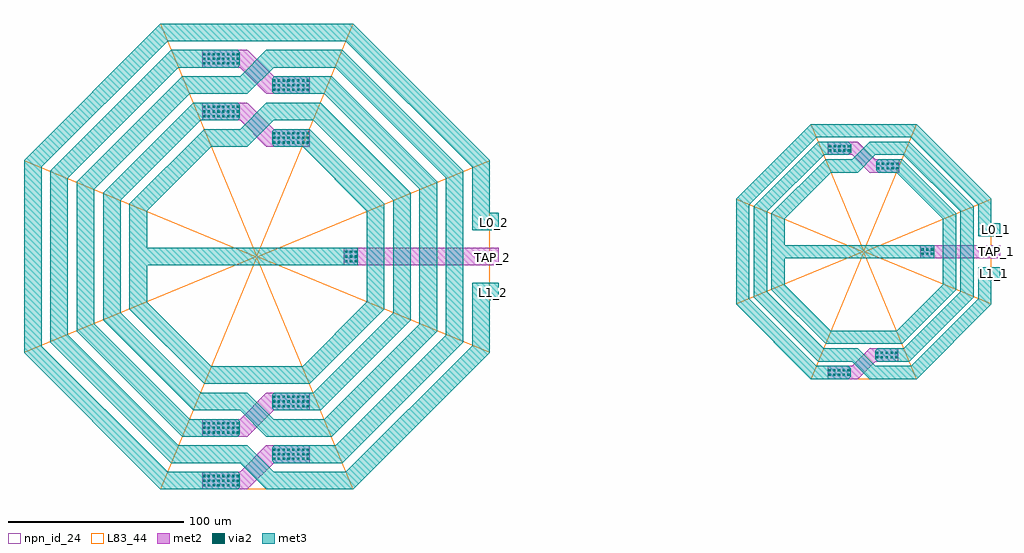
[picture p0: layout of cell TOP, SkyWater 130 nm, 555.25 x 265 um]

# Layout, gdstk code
import gdstk
lib = gdstk.Library(unit=1e-6, precision=1e-09)
def R(c, l, rs):  # rectangles x0, y0, x1, y1
    for r in rs: c.add(gdstk.rectangle(r[:2], r[2:], *l))
def A(c, l, x, y, w, h, nx, ny, dx, dy):  # array of equal rectangles
    R(c, l, [(x+i*dx, y+j*dy, x+i*dx+w, y+j*dy+h) for i in range(nx) for j in range(ny)])
def P(c, l, *ps):  # polygons
    for p in ps: c.add(gdstk.Polygon(p, *l))
met2 = (69, 20)
via2 = (69, 44)
met3 = (70, 20)
npn_id_24 = (82, 24)
L83_44 = (83, 44)

sky130_fd_pr__rf_test_co = lib.new_cell('sky130_fd_pr__rf_test_coil1')
R(sky130_fd_pr__rf_test_co, met2, [(-20.52,-71.035,-7.66,-66.485), (6.65,-61.035,19.51,-56.485), (32.36,-2.275,39.68,2.275), (7.155,46.47,20.015,51.02), (-20.23,56.485,-7.37,61.035)])
P(sky130_fd_pr__rf_test_co, met2, [(-20.615,-72.52),(-20.615,-65.02),(-6.555,-65.02),(3.455,-55.01),(19.625,-55.01),(19.625,-62.51),(6.565,-62.51),(-3.445,-72.52)],
  [(-20.395,55.01),(-20.395,62.51),(-8.695,62.51),(-7.325,61.14),(-7.325,56.38),(-8.695,55.01)],
  [(3.455,45),(-6.555,55.01),(-20.395,55.01),(-20.395,62.51),(-3.445,62.51),(6.565,52.5),(20.12,52.5),(20.12,45)])
A(sky130_fd_pr__rf_test_co, via2, -17.46, -70.595, 1.2, 1.2, 3, 2, 2.77, 2.47)
A(sky130_fd_pr__rf_test_co, via2, 9.71, -60.595, 1.2, 1.2, 3, 2, 2.77, 2.47)
A(sky130_fd_pr__rf_test_co, via2, 10.215, 46.91, 1.2, 1.2, 3, 2, 2.77, 2.47)
A(sky130_fd_pr__rf_test_co, via2, -17.17, 56.925, 1.2, 1.2, 3, 2, 2.77, 2.47)
R(sky130_fd_pr__rf_test_co, via2, [(-20.08,-70.595,-18.88,-69.395), (-9.3,-70.595,-8.1,-69.395), (-20.08,-68.125,-18.88,-66.925), (-9.3,-68.125,-8.1,-66.925), (7.09,-60.595,8.29,-59.395), (17.87,-60.595,19.07,-59.395), (7.09,-58.125,8.29,-56.925), (17.87,-58.125,19.07,-56.925), (32.8,-1.835,34,-0.635), (35.42,-1.835,36.62,-0.635), (38.19,-1.835,39.39,-0.635), (32.8,0.635,34,1.835), (35.42,0.635,36.62,1.835), (38.19,0.635,39.39,1.835), (7.595,46.91,8.795,48.11), (18.375,46.91,19.575,48.11), (7.595,49.38,8.795,50.58), (18.375,49.38,19.575,50.58), (-19.79,56.925,-18.59,58.125), (-9.01,56.925,-7.81,58.125), (-19.79,59.395,-18.59,60.595), (-9.01,59.395,-7.81,60.595)])
R(sky130_fd_pr__rf_test_co, met3, [(-20.615,-71.15,-7.545,-66.39), (6.555,-61.14,19.625,-56.38), (32.255,-2.38,39.785,2.38), (7.05,46.37,20.12,51.13), (-20.335,56.38,-7.265,61.14)])
P(sky130_fd_pr__rf_test_co, met3, [(67.215,24.74),(24.74,67.215),(30.045,72.52),(72.52,30.045)],
  [(3.445,-72.52),(-6.565,-62.51),(-25.9,-62.51),(-25.9,-55.02),(-3.445,-55.02),(6.555,-65.02),(30.045,-65.02),(30.045,-72.52)],
  [(30.045,-72.52),(24.74,-67.215),(67.215,-24.74),(72.52,-30.045)],
  [(-30.045,-72.52),(-72.52,-30.045),(-67.215,-24.74),(-24.74,-67.215)],
  [(-67.215,24.74),(-72.52,30.045),(-30.045,72.52),(-24.74,67.215)],
  [(-21.755,45),(-21.755,52.5),(-6.565,52.5),(3.445,62.51),(25.9,62.51),(25.9,55.01),(6.555,55.01),(-3.455,45)],
  [(57.205,20.595),(20.595,57.205),(25.9,62.51),(62.51,25.9)],
  [(25.9,-62.51),(20.595,-57.205),(57.205,-20.595),(62.51,-25.9)],
  [(-25.9,-62.51),(-62.51,-25.9),(-57.205,-20.595),(-20.595,-57.205)],
  [(-57.205,20.595),(-62.51,25.9),(-25.9,62.51),(-20.595,57.205)],
  [(47.195,16.45),(16.45,47.195),(21.755,52.5),(52.5,21.755)],
  [(21.755,-52.5),(16.45,-47.195),(47.195,-16.45),(52.5,-21.755)],
  [(-21.755,-52.5),(-52.5,-21.755),(-47.195,-16.45),(-16.45,-47.195)],
  [(-47.195,16.45),(-52.5,21.755),(-21.755,52.5),(-16.45,47.195)],
  [(-25.9,55.01),(-25.9,62.51),(-8.695,62.51),(-7.325,61.14),(-7.325,56.38),(-8.695,55.01)],
  [(-30.045,-72.52),(-30.045,-65.02),(-8.915,-65.02),(-7.545,-66.39),(-7.545,-71.15),(-8.915,-72.52)],
  [(7.925,-62.51),(6.555,-61.14),(6.555,-56.38),(7.925,-55.01),(25.9,-55.01),(25.9,-62.51)],
  [(8.42,45),(7.05,46.37),(7.05,51.13),(8.42,52.5),(21.755,52.5),(21.755,45)])
P(sky130_fd_pr__rf_test_co, npn_id_24, [(-30.045,-72.52),(-72.52,-30.045),(-72.52,30.045),(-30.045,72.52),(30.045,72.52),(72.52,30.045),(72.52,-30.045),(30.045,-72.52)])
P(sky130_fd_pr__rf_test_co, L83_44, [(72.52,-30.044),(0,0),(72.52,30.044)],
  [(-72.52,-30.044),(-72.52,30.044),(0,0)],
  [(-30.044,-72.52),(0,0),(30.044,-72.52)],
  [(0,0),(-30.044,72.52),(30.044,72.52)])
sky130_fd_pr__rf_test_co.add(gdstk.FlexPath([(77.5,0),(32.04,0)], 7.5, ends="flush", simple_path=True, layer=69, datatype=20))  # met2
sky130_fd_pr__rf_test_co.add(gdstk.FlexPath([(30.045,68.77),(0,68.77)], 7.5, ends="flush", simple_path=True, layer=70, datatype=20))  # met3
sky130_fd_pr__rf_test_co.add(gdstk.FlexPath([(68.77,8.75),(68.77,30.045)], 7.5, ends="flush", simple_path=True, layer=70, datatype=20))  # met3
sky130_fd_pr__rf_test_co.add(gdstk.FlexPath([(-68.77,30.045),(-68.77,-30.045)], 7.5, ends="flush", simple_path=True, layer=70, datatype=20))  # met3
sky130_fd_pr__rf_test_co.add(gdstk.FlexPath([(0,68.77),(-30.045,68.77)], 7.5, ends="flush", simple_path=True, layer=70, datatype=20))  # met3
sky130_fd_pr__rf_test_co.add(gdstk.FlexPath([(58.76,-25.9),(58.76,25.9)], 7.5, ends="flush", simple_path=True, layer=70, datatype=20))  # met3
sky130_fd_pr__rf_test_co.add(gdstk.FlexPath([(65.02,-12.5),(77.5,-12.5)], 7.5, ends="flush", simple_path=True, layer=70, datatype=20))  # met3
sky130_fd_pr__rf_test_co.add(gdstk.FlexPath([(-58.76,25.9),(-58.76,-25.9)], 7.5, ends="flush", simple_path=True, layer=70, datatype=20))  # met3
sky130_fd_pr__rf_test_co.add(gdstk.FlexPath([(48.75,-21.755),(48.75,21.755)], 7.5, ends="flush", simple_path=True, layer=70, datatype=20))  # met3
sky130_fd_pr__rf_test_co.add(gdstk.FlexPath([(-21.755,-48.75),(21.755,-48.75)], 7.5, ends="flush", simple_path=True, layer=70, datatype=20))  # met3
sky130_fd_pr__rf_test_co.add(gdstk.FlexPath([(65.02,12.5),(77.5,12.5)], 7.5, ends="flush", simple_path=True, layer=70, datatype=20))  # met3
sky130_fd_pr__rf_test_co.add(gdstk.FlexPath([(-52.5,0),(40,0)], 7.5, ends="flush", simple_path=True, layer=70, datatype=20))  # met3
sky130_fd_pr__rf_test_co.add(gdstk.FlexPath([(-48.75,21.755),(-48.75,-21.755)], 7.5, ends="flush", simple_path=True, layer=70, datatype=20))  # met3
sky130_fd_pr__rf_test_co.add(gdstk.FlexPath([(68.77,-30.045),(68.77,-8.75)], 7.5, ends="flush", simple_path=True, layer=70, datatype=20))  # met3
sky130_fd_pr__rf_test_co.add(gdstk.Label('TAP_1', (74.91,-0.115), layer=69, texttype=5))
sky130_fd_pr__rf_test_co.add(gdstk.Label('L1_1', (74.071,-12.372), layer=70, texttype=5))
sky130_fd_pr__rf_test_co.add(gdstk.Label('L0_1', (74.743,12.478), layer=70, texttype=5))

c_sky130_fd_pr__rf_test_co = lib.new_cell('sky130_fd_pr__rf_test_coil2')
R(c_sky130_fd_pr__rf_test_co, met2, [(-31.05,-131.16,-9.88,-123.84), (8.765,-116.16,29.935,-108.84), (-31.05,-101.16,-9.88,-93.84), (8.765,-86.16,29.935,-78.84), (49.86,-3.66,57.18,3.66), (8.765,63.84,29.935,71.16), (-31.05,78.84,-9.88,86.16), (8.765,93.84,29.935,101.16), (-31.05,108.84,-9.88,116.16)])
P(c_sky130_fd_pr__rf_test_co, met2, [(-31.155,-102.5),(-31.155,-92.5),(-9.575,-92.5),(5.425,-77.5),(30.04,-77.5),(30.04,-87.5),(9.575,-87.5),(-5.425,-102.5)],
  [(-31.155,-132.5),(-31.155,-122.5),(-9.575,-122.5),(5.425,-107.5),(30.04,-107.5),(30.04,-117.5),(9.575,-117.5),(-5.425,-132.5)],
  [(5.425,92.5),(-9.575,107.5),(-31.155,107.5),(-31.155,117.5),(-5.425,117.5),(9.575,102.5),(30.04,102.5),(30.04,92.5)],
  [(5.425,62.5),(-9.575,77.5),(-31.155,77.5),(-31.155,87.5),(-5.425,87.5),(9.575,72.5),(30.04,72.5),(30.04,62.5)])
A(c_sky130_fd_pr__rf_test_co, via2, -30.61, -130.72, 1.2, 1.2, 1, 3, 0, 2.62)
A(c_sky130_fd_pr__rf_test_co, via2, -27.99, -130.72, 1.2, 1.2, 6, 3, 2.77, 2.62)
A(c_sky130_fd_pr__rf_test_co, via2, -11.52, -130.72, 1.2, 1.2, 1, 3, 0, 2.62)
A(c_sky130_fd_pr__rf_test_co, via2, 9.205, -115.72, 1.2, 1.2, 1, 3, 0, 2.62)
A(c_sky130_fd_pr__rf_test_co, via2, 11.825, -115.72, 1.2, 1.2, 6, 3, 2.77, 2.62)
A(c_sky130_fd_pr__rf_test_co, via2, 28.295, -115.72, 1.2, 1.2, 1, 3, 0, 2.62)
A(c_sky130_fd_pr__rf_test_co, via2, -30.61, -100.72, 1.2, 1.2, 1, 3, 0, 2.62)
A(c_sky130_fd_pr__rf_test_co, via2, -27.99, -100.72, 1.2, 1.2, 6, 3, 2.77, 2.62)
A(c_sky130_fd_pr__rf_test_co, via2, -11.52, -100.72, 1.2, 1.2, 1, 3, 0, 2.62)
A(c_sky130_fd_pr__rf_test_co, via2, 9.2, -85.725, 1.2, 1.2, 1, 3, 0, 2.62)
A(c_sky130_fd_pr__rf_test_co, via2, 11.82, -85.725, 1.2, 1.2, 6, 3, 2.77, 2.62)
A(c_sky130_fd_pr__rf_test_co, via2, 28.29, -85.725, 1.2, 1.2, 1, 3, 0, 2.62)
A(c_sky130_fd_pr__rf_test_co, via2, 50.3, -3.22, 1.2, 1.2, 1, 3, 0, 2.62)
A(c_sky130_fd_pr__rf_test_co, via2, 52.92, -3.22, 1.2, 1.2, 1, 3, 0, 2.62)
A(c_sky130_fd_pr__rf_test_co, via2, 55.69, -3.22, 1.2, 1.2, 1, 3, 0, 2.62)
A(c_sky130_fd_pr__rf_test_co, via2, 9.205, 64.285, 1.2, 1.2, 1, 3, 0, 2.62)
A(c_sky130_fd_pr__rf_test_co, via2, 11.825, 64.285, 1.2, 1.2, 6, 3, 2.77, 2.62)
A(c_sky130_fd_pr__rf_test_co, via2, 28.295, 64.285, 1.2, 1.2, 1, 3, 0, 2.62)
A(c_sky130_fd_pr__rf_test_co, via2, -30.615, 79.285, 1.2, 1.2, 1, 3, 0, 2.62)
A(c_sky130_fd_pr__rf_test_co, via2, -27.995, 79.285, 1.2, 1.2, 6, 3, 2.77, 2.62)
A(c_sky130_fd_pr__rf_test_co, via2, -11.525, 79.285, 1.2, 1.2, 1, 3, 0, 2.62)
A(c_sky130_fd_pr__rf_test_co, via2, 9.205, 94.275, 1.2, 1.2, 1, 3, 0, 2.62)
A(c_sky130_fd_pr__rf_test_co, via2, 11.825, 94.275, 1.2, 1.2, 6, 3, 2.77, 2.62)
A(c_sky130_fd_pr__rf_test_co, via2, 28.295, 94.275, 1.2, 1.2, 1, 3, 0, 2.62)
A(c_sky130_fd_pr__rf_test_co, via2, -30.61, 109.28, 1.2, 1.2, 1, 3, 0, 2.62)
A(c_sky130_fd_pr__rf_test_co, via2, -27.99, 109.28, 1.2, 1.2, 6, 3, 2.77, 2.62)
A(c_sky130_fd_pr__rf_test_co, via2, -11.52, 109.28, 1.2, 1.2, 1, 3, 0, 2.62)
R(c_sky130_fd_pr__rf_test_co, met3, [(-31.155,-131.265,-9.775,-123.735), (8.66,-116.265,30.04,-108.735), (-31.155,-101.265,-9.775,-93.735), (8.66,-86.265,30.04,-78.735), (49.755,-3.765,57.285,3.765), (8.66,63.735,30.04,71.265), (-31.155,78.735,-9.775,86.265), (8.66,93.735,30.04,101.265), (-31.155,108.735,-9.775,116.265)])
P(c_sky130_fd_pr__rf_test_co, met3, [(125.43,47.82),(47.82,125.43),(54.89,132.5),(132.5,54.89)],
  [(54.89,-132.5),(47.82,-125.43),(125.43,-47.82),(132.5,-54.89)],
  [(-54.89,-132.5),(-132.5,-54.89),(-125.43,-47.82),(-47.82,-125.43)],
  [(-125.43,47.82),(-132.5,54.89),(-54.89,132.5),(-47.82,125.43)],
  [(110.43,41.61),(41.61,110.43),(48.68,117.5),(117.5,48.68)],
  [(48.68,-117.5),(41.61,-110.43),(110.43,-41.61),(117.5,-48.68)],
  [(-48.68,-117.5),(-117.5,-48.68),(-110.43,-41.61),(-41.61,-110.43)],
  [(9.895,-87.5),(8.66,-86.265),(8.66,-78.735),(9.895,-77.5),(36.255,-77.5),(36.255,-87.5)],
  [(-110.43,41.61),(-117.5,48.68),(-48.68,117.5),(-41.61,110.43)],
  [(5.425,-102.5),(-9.575,-87.5),(-36.255,-87.5),(-36.255,-77.5),(-5.425,-77.5),(9.575,-92.5),(42.465,-92.5),(42.465,-102.5)],
  [(5.425,-132.5),(-9.575,-117.5),(-48.68,-117.5),(-48.68,-107.5),(-5.425,-107.5),(9.575,-122.5),(54.89,-122.5),(54.89,-132.5)],
  [(95.43,35.395),(35.395,95.43),(42.465,102.5),(102.5,42.465)],
  [(42.465,-102.5),(35.395,-95.43),(95.43,-35.395),(102.5,-42.465)],
  [(-42.465,-102.5),(-102.5,-42.465),(-95.43,-35.395),(-35.395,-95.43)],
  [(-48.68,107.5),(-48.68,117.5),(-11.01,117.5),(-9.775,116.265),(-9.775,108.735),(-11.01,107.5)],
  [(-95.43,35.395),(-102.5,42.465),(-42.465,102.5),(-35.395,95.43)],
  [(-42.465,92.5),(-42.465,102.5),(-9.575,102.5),(5.425,117.5),(48.68,117.5),(48.68,107.5),(9.575,107.5),(-5.425,92.5)],
  [(80.43,29.185),(29.185,80.43),(36.255,87.5),(87.5,36.255)],
  [(36.255,-87.5),(29.185,-80.43),(80.43,-29.185),(87.5,-36.255)],
  [(-36.255,-87.5),(-87.5,-36.255),(-80.43,-29.185),(-29.185,-80.43)],
  [(-36.255,77.5),(-36.255,87.5),(-11.01,87.5),(-9.775,86.265),(-9.775,78.735),(-11.01,77.5)],
  [(-80.43,29.185),(-87.5,36.255),(-36.255,87.5),(-29.185,80.43)],
  [(9.895,62.5),(8.66,63.735),(8.66,71.265),(9.895,72.5),(30.04,72.5),(30.04,62.5)],
  [(65.43,22.97),(22.97,65.43),(30.04,72.5),(72.5,30.04)],
  [(30.04,-72.5),(22.97,-65.43),(65.43,-22.97),(72.5,-30.04)],
  [(-30.04,-72.5),(-72.5,-30.04),(-65.43,-22.97),(-22.97,-65.43)],
  [(-65.43,22.97),(-72.5,30.04),(-30.04,72.5),(-22.97,65.43)],
  [(-30.04,62.5),(-30.04,72.5),(-9.575,72.5),(5.425,87.5),(36.255,87.5),(36.255,77.5),(9.575,77.5),(-5.425,62.5)],
  [(9.895,92.5),(8.66,93.735),(8.66,101.265),(9.895,102.5),(42.465,102.5),(42.465,92.5)],
  [(-42.465,-102.5),(-42.465,-92.5),(-11.01,-92.5),(-9.775,-93.735),(-9.775,-101.265),(-11.01,-102.5)],
  [(9.895,-117.5),(8.66,-116.265),(8.66,-108.735),(9.895,-107.5),(48.68,-107.5),(48.68,-117.5)],
  [(-54.89,-132.5),(-54.89,-122.5),(-11.01,-122.5),(-9.775,-123.735),(-9.775,-131.265),(-11.01,-132.5)])
P(c_sky130_fd_pr__rf_test_co, npn_id_24, [(-54.89,-132.5),(-132.5,-54.89),(-132.5,54.89),(-54.89,132.5),(54.89,132.5),(132.5,54.89),(132.5,-54.89),(54.89,-132.5)])
P(c_sky130_fd_pr__rf_test_co, L83_44, [(0,0),(-54.893,132.5),(54.893,132.5)],
  [(132.5,-54.893),(0,0),(132.5,54.893)],
  [(-54.893,-132.5),(0,0),(54.893,-132.5)],
  [(-132.5,-54.893),(-132.5,54.893),(0,0)])
c_sky130_fd_pr__rf_test_co.add(gdstk.FlexPath([(137.5,0),(49.54,0)], 10, ends="flush", simple_path=True, layer=69, datatype=20))  # met2
c_sky130_fd_pr__rf_test_co.add(gdstk.FlexPath([(54.89,127.5),(0,127.5)], 10, ends="flush", simple_path=True, layer=70, datatype=20))  # met3
c_sky130_fd_pr__rf_test_co.add(gdstk.FlexPath([(-127.5,54.89),(-127.5,-54.89)], 10, ends="flush", simple_path=True, layer=70, datatype=20))  # met3
c_sky130_fd_pr__rf_test_co.add(gdstk.FlexPath([(0,127.5),(-54.89,127.5)], 10, ends="flush", simple_path=True, layer=70, datatype=20))  # met3
c_sky130_fd_pr__rf_test_co.add(gdstk.FlexPath([(112.5,-48.68),(112.5,48.68)], 10, ends="flush", simple_path=True, layer=70, datatype=20))  # met3
c_sky130_fd_pr__rf_test_co.add(gdstk.FlexPath([(-112.5,48.68),(-112.5,-48.68)], 10, ends="flush", simple_path=True, layer=70, datatype=20))  # met3
c_sky130_fd_pr__rf_test_co.add(gdstk.FlexPath([(97.5,-42.465),(97.5,42.465)], 10, ends="flush", simple_path=True, layer=70, datatype=20))  # met3
c_sky130_fd_pr__rf_test_co.add(gdstk.FlexPath([(-97.5,42.465),(-97.5,-42.465)], 10, ends="flush", simple_path=True, layer=70, datatype=20))  # met3
c_sky130_fd_pr__rf_test_co.add(gdstk.FlexPath([(82.5,-36.255),(82.5,36.255)], 10, ends="flush", simple_path=True, layer=70, datatype=20))  # met3
c_sky130_fd_pr__rf_test_co.add(gdstk.FlexPath([(-82.5,36.255),(-82.5,-36.255)], 10, ends="flush", simple_path=True, layer=70, datatype=20))  # met3
c_sky130_fd_pr__rf_test_co.add(gdstk.FlexPath([(67.5,-30.04),(67.5,30.04)], 10, ends="flush", simple_path=True, layer=70, datatype=20))  # met3
c_sky130_fd_pr__rf_test_co.add(gdstk.FlexPath([(-30.04,-67.5),(30.04,-67.5)], 10, ends="flush", simple_path=True, layer=70, datatype=20))  # met3
c_sky130_fd_pr__rf_test_co.add(gdstk.FlexPath([(-67.5,30.04),(-67.5,-30.04)], 10, ends="flush", simple_path=True, layer=70, datatype=20))  # met3
c_sky130_fd_pr__rf_test_co.add(gdstk.FlexPath([(-72.5,0),(57.5,0)], 10, ends="flush", simple_path=True, layer=70, datatype=20))  # met3
c_sky130_fd_pr__rf_test_co.add(gdstk.FlexPath([(122.5,20),(137.5,20)], 10, ends="flush", simple_path=True, layer=70, datatype=20))  # met3
c_sky130_fd_pr__rf_test_co.add(gdstk.FlexPath([(122.5,-20),(137.5,-20)], 10, ends="flush", simple_path=True, layer=70, datatype=20))  # met3
c_sky130_fd_pr__rf_test_co.add(gdstk.FlexPath([(127.5,15),(127.5,54.89)], 10, ends="flush", simple_path=True, layer=70, datatype=20))  # met3
c_sky130_fd_pr__rf_test_co.add(gdstk.FlexPath([(127.5,-54.89),(127.5,-15)], 10, ends="flush", simple_path=True, layer=70, datatype=20))  # met3
c_sky130_fd_pr__rf_test_co.add(gdstk.Label('TAP_2', (134.246,-0.712), layer=69, texttype=5))
c_sky130_fd_pr__rf_test_co.add(gdstk.Label('L0_2', (134.893,19.621), layer=70, texttype=5))
c_sky130_fd_pr__rf_test_co.add(gdstk.Label('L1_2', (134.493,-20.301), layer=70, texttype=5))

top = lib.new_cell('TOP')
top.add(gdstk.Reference(sky130_fd_pr__rf_test_co, (345.251,2.755)))
top.add(gdstk.Reference(c_sky130_fd_pr__rf_test_co, (0,0)))
top.add(gdstk.Label('TAP_1', (420.648,2.562), layer=69, texttype=5))
top.add(gdstk.Label('TAP_2', (134.246,-0.712), layer=69, texttype=5))
top.add(gdstk.Label('L1_1', (419.809,-9.695), layer=70, texttype=5))
top.add(gdstk.Label('L0_1', (420.481,15.155), layer=70, texttype=5))
top.add(gdstk.Label('L0_2', (134.893,19.621), layer=70, texttype=5))
top.add(gdstk.Label('L1_2', (134.493,-20.301), layer=70, texttype=5))

lib.write_gds('TOP.gds')
